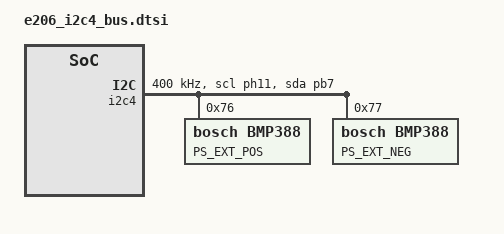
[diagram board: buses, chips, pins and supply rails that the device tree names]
/*
 * Copyright (c) 2023 Acme CPU
 *
 * E206 I2C4 bus has
 *		- S201 PCB (2 x bmp388)
 */

 &i2c4 {
 	status = "okay";
	pinctrl-0 = <&i2c4_scl_ph11 &i2c4_sda_pb7>;
	pinctrl-names = "default";
	clock-frequency = <I2C_BITRATE_FAST>;

	p121_ps_ext: bmp388@76 {
    	compatible = "bosch,bmp388";
    	reg = <0x76>;
    	label = "PS_EXT_POS";
    	odr = "25";			/* data rate = 25Hz */
   		osr-press = <1>;	/* pressure oversampling = No */
    	osr-temp = <1>;		/* temperature oversampling = No */
    	iir-filter = <0>;	/* iir filter = default val */
	};

	p122_ps_ext: bmp388@77 {
    	compatible = "bosch,bmp388";
    	reg = <0x77>;
    	label = "PS_EXT_NEG";
    	odr = "25";			/* data rate = 25Hz */
    	osr-press = <1>;	/* pressure oversampling = No */
    	osr-temp = <1>;		/* temperature oversampling = No */
    	iir-filter = <0>;	/* iir filter = default val */
	};
};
